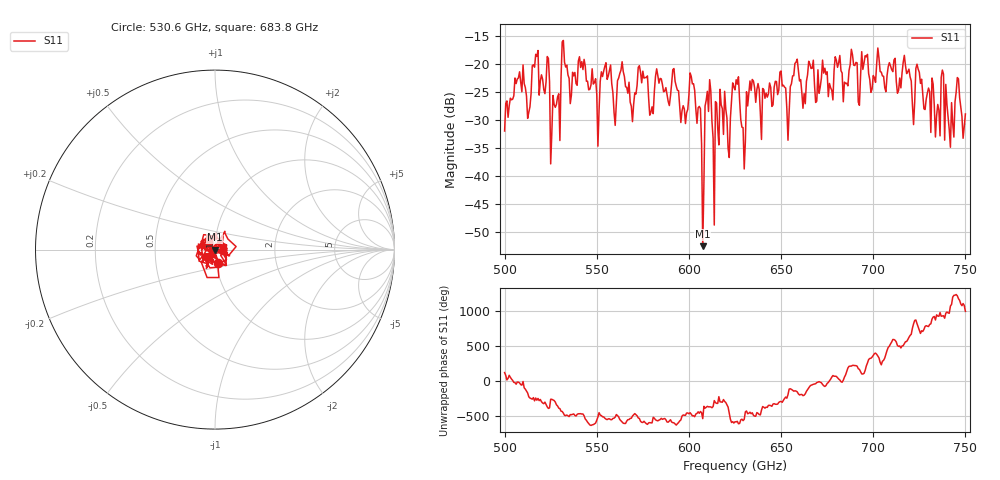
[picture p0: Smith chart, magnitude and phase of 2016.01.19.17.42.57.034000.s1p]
!Created with skrf (http://scikit-rf.org).
# GHz S RI R 50.0
!freq ReS11 ImS11
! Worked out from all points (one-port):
!   401 points, 500 GHz to 750 GHz, reference 50 ohm
!   lowest |S11| = -52.6 dB at 607.5 GHz (marker M1), VSWR 1.00, Z = 49.8 + j0.0195 ohm
!   |S11| at or under -10 dB: start of sweep to end of sweep
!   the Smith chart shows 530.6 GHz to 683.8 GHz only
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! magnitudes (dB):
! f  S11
! 500 GHz  -32.0
! 506.9 GHz  -22.7
! 513.1 GHz  -28.7
! 516.9 GHz  -18.3
! 526.2 GHz  -25.7
! 531.2 GHz  -16.1
! 550 GHz  -25.4
! 556.2 GHz  -22.2
! 559.4 GHz  -28.7
! 562.5 GHz  -21.7
! 569.4 GHz  -30.3
! 573.8 GHz  -21.5
! 579.4 GHz  -28.7
! 583.1 GHz  -22.1
! 593.8 GHz  -24.7
! 596.9 GHz  -27.5
! 601.9 GHz  -23.6
! 607.5 GHz  -52.6
! 610.6 GHz  -28.5
! 615 GHz  -27.0
! 625 GHz  -24.7
! 629.4 GHz  -31.4
! 633.8 GHz  -24.8
! 653.8 GHz  -33.7
! 656.2 GHz  -22.2
! 687.5 GHz  -20.1
! 718.8 GHz  -21.4
! 750 GHz  -29.0
